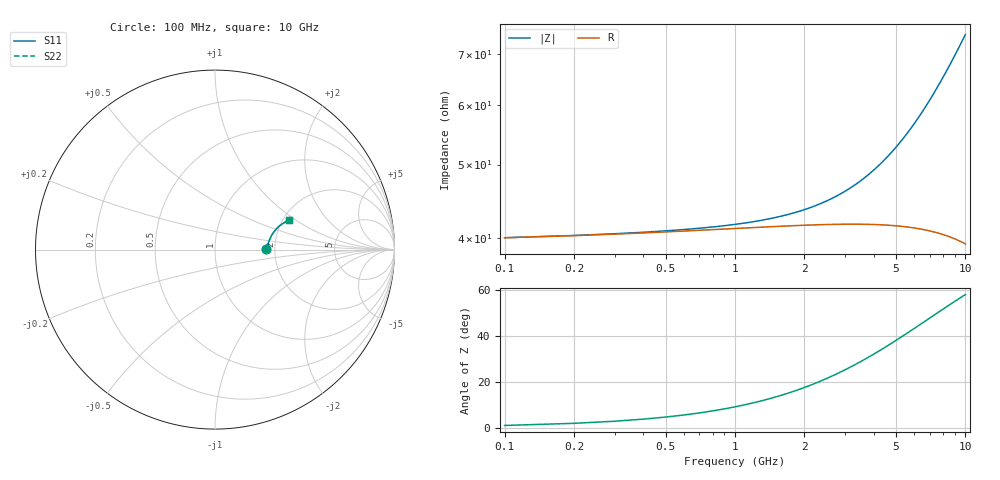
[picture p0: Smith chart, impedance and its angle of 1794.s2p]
# Hz S RI R 50.00
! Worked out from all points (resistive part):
!   100 points, 100 MHz to 10 GHz, reference 50 ohm
!   read as one part in series: R = 40 ohm at 100 MHz
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1e8  0.2857 0.00231  0.7143 -0.00423  0.7143 -0.00423  0.2857 0.00231
2e8  0.2871 0.0046  0.7129 -0.00843  0.7129 -0.00843  0.2871 0.0046
4e8  0.289 0.00912  0.711 -0.0168  0.711 -0.0168  0.289 0.00912
8e8  0.2918 0.0181  0.708 -0.0334  0.708 -0.0334  0.2918 0.0181
1.3e9  0.295 0.029  0.7046 -0.054  0.7046 -0.054  0.295 0.029
1.8e9  0.2984 0.0398  0.7009 -0.0743  0.7009 -0.0743  0.2984 0.0398
2.2e9  0.3014 0.0483  0.6976 -0.0905  0.6976 -0.0905  0.3014 0.0483
2.6e9  0.3046 0.0566  0.6939 -0.1065  0.6939 -0.1065  0.3046 0.0566
3e9  0.3082 0.0647  0.6898 -0.1223  0.6898 -0.1223  0.3082 0.0647
3.4e9  0.3121 0.0727  0.6854 -0.1379  0.6854 -0.1379  0.3121 0.0727
3.8e9  0.3163 0.0804  0.6806 -0.1533  0.6806 -0.1533  0.3163 0.0804
4.2e9  0.3208 0.0879  0.6754 -0.1685  0.6754 -0.1685  0.3208 0.0879
4.6e9  0.3257 0.0951  0.6698 -0.1835  0.6698 -0.1835  0.3257 0.0951
5.1e9  0.3321 0.1038  0.6623 -0.2018  0.6623 -0.2018  0.3321 0.1038
5.9e9  0.3434 0.1168  0.6491 -0.2302  0.6491 -0.2302  0.3434 0.1168
6.7e9  0.3557 0.1286  0.6346 -0.2575  0.6346 -0.2575  0.3557 0.1286
7.2e9  0.3639 0.1353  0.6249 -0.2739  0.6249 -0.2739  0.3639 0.1353
7.6e9  0.3707 0.1403  0.6168 -0.2867  0.6168 -0.2867  0.3707 0.1403
8.4e9  0.3848 0.1493  0.5999 -0.3113  0.5999 -0.3113  0.3848 0.1493
9.2e9  0.3995 0.1568  0.5821 -0.3345  0.5821 -0.3345  0.3995 0.1568
9.6e9  0.407 0.1601  0.5729 -0.3455  0.5729 -0.3455  0.407 0.1601
1e10  0.4146 0.163  0.5635 -0.3563  0.5635 -0.3563  0.4146 0.163
